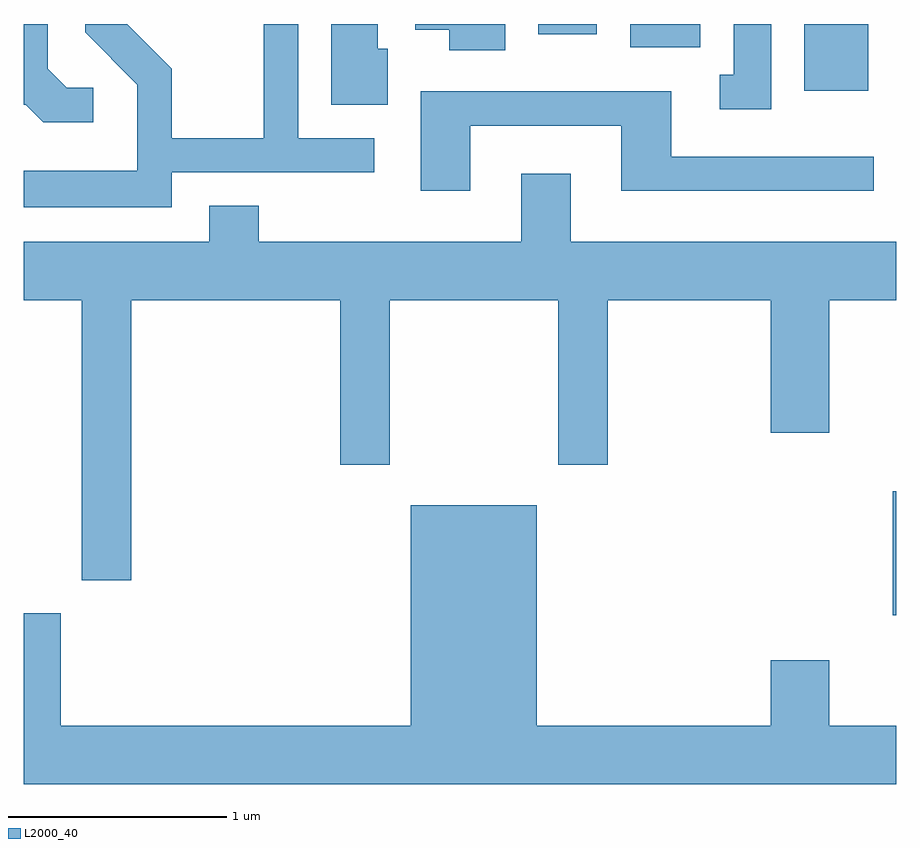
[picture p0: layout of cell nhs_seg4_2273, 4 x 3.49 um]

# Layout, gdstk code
import gdstk
lib = gdstk.Library(unit=1e-6, precision=1e-09)
def R(c, l, rs):  # rectangles x0, y0, x1, y1
    for r in rs: c.add(gdstk.rectangle(r[:2], r[2:], *l))
def P(c, l, *ps):  # polygons
    for p in ps: c.add(gdstk.Polygon(p, *l))
L2000_40 = (2000, 40)

nhs_seg4_2273 = lib.new_cell('nhs_seg4_2273')
R(nhs_seg4_2273, L2000_40, [(255.596,1313.271,255.611,1313.839), (255.191,1315.676,255.484,1315.982), (254.391,1315.876,254.714,1315.982), (253.971,1315.936,254.239,1315.982)])
P(nhs_seg4_2273, L2000_40, [(255.039,1315.982),(254.866,1315.982),(254.866,1315.749),(254.803,1315.749),(254.803,1315.591),(255.039,1315.591)],
  [(253.279,1315.869),(253.234,1315.869),(253.234,1315.982),(253.021,1315.982),(253.021,1315.611),(253.279,1315.611)],
  [(252.289,1315.301),(253.218,1315.301),(253.218,1315.459),(252.869,1315.459),(252.869,1315.982),(252.711,1315.982),(252.711,1315.459),(252.289,1315.459),(252.289,1315.777),(252.084,1315.982),(251.891,1315.982),(251.891,1315.944),(252.131,1315.704),(252.131,1315.309),(251.611,1315.309),(251.611,1315.141),(252.289,1315.141)],
  [(253.819,1315.982),(253.406,1315.982),(253.406,1315.956),(253.561,1315.956),(253.561,1315.861),(253.819,1315.861)],
  [(251.928,1315.689),(251.807,1315.689),(251.719,1315.777),(251.719,1315.982),(251.611,1315.982),(251.611,1315.611),(251.619,1315.611),(251.699,1315.531),(251.928,1315.531)],
  [(253.659,1315.516),(254.351,1315.516),(254.351,1315.216),(255.508,1315.216),(255.508,1315.374),(254.579,1315.374),(254.579,1315.674),(253.431,1315.674),(253.431,1315.216),(253.659,1315.216)],
  [(252.104,1314.716),(253.061,1314.716),(253.061,1313.961),(253.289,1313.961),(253.289,1314.716),(254.061,1314.716),(254.061,1313.961),(254.289,1313.961),(254.289,1314.716),(255.036,1314.716),(255.036,1314.106),(255.304,1314.106),(255.304,1314.716),(255.611,1314.716),(255.611,1314.984),(254.119,1314.984),(254.119,1315.294),(253.891,1315.294),(253.891,1314.984),(252.689,1314.984),(252.689,1315.149),(252.461,1315.149),(252.461,1314.984),(251.611,1314.984),(251.611,1314.716),(251.876,1314.716),(251.876,1313.431),(252.104,1313.431)],
  [(255.611,1312.764),(255.304,1312.764),(255.304,1313.064),(255.036,1313.064),(255.036,1312.764),(253.964,1312.764),(253.964,1313.774),(253.386,1313.774),(253.386,1312.764),(251.779,1312.764),(251.779,1313.279),(251.611,1313.279),(251.611,1312.496),(255.611,1312.496)])

lib.write_gds('nhs_seg4_2273.gds')
